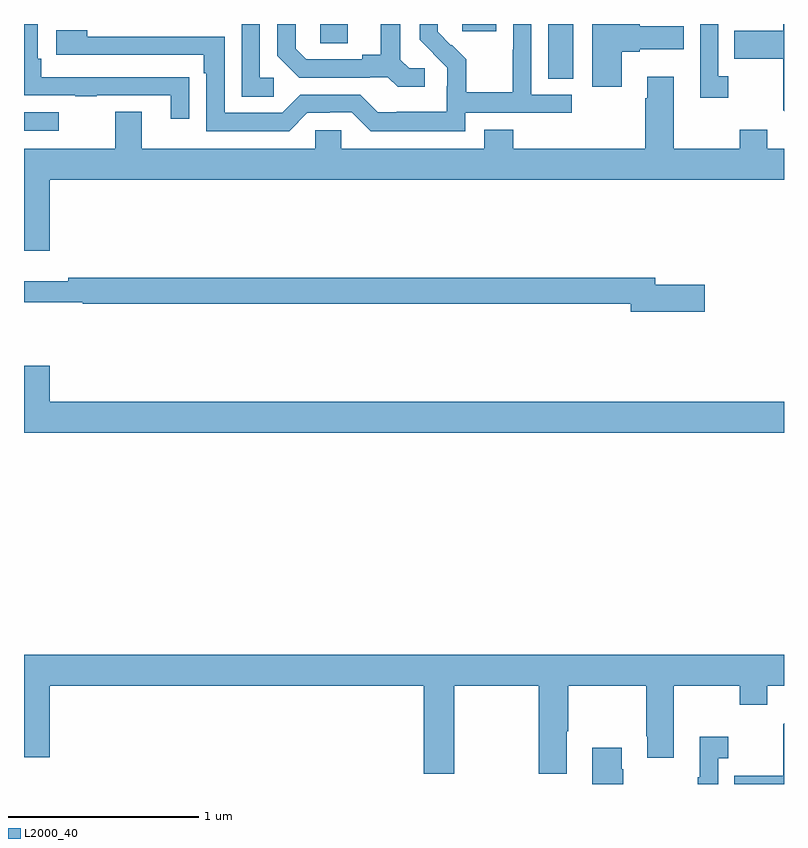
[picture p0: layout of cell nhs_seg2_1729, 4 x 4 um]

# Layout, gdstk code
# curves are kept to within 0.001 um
import gdstk
lib = gdstk.Library(unit=1e-6, precision=1e-09)
def R(c, l, rs):  # rectangles x0, y0, x1, y1
    for r in rs: c.add(gdstk.rectangle(r[:2], r[2:], *l))
def P(c, l, *ps):  # polygons
    for p in ps: c.add(gdstk.Polygon(p, *l))
L2000_40 = (2000, 40)

nhs_seg2_1729 = lib.new_cell('nhs_seg2_1729')
R(nhs_seg2_1729, L2000_40, [(201,637.239,201.184,637.335), (203.759,637.513,203.89,637.8), (202.56,637.699,202.705,637.8), (203.306,637.761,203.485,637.8)])
P(nhs_seg2_1729, L2000_40, [(205,637.8),(204.996,637.8),(204.996,637.765),(204.739,637.765),(204.739,637.618),(204.996,637.618),(204.996,637.345),(205,637.341)],
  [(203.322,637.332),(203.884,637.332),(203.884,637.428),(203.67,637.428),(203.67,637.8),(203.574,637.8),(203.574,637.664),(203.572,637.664),(203.572,637.441),(203.327,637.441),(203.327,637.615),(203.25,637.692),(203.247,637.689),(203.177,637.76),(203.177,637.8),(203.082,637.8),(203.082,637.718),(203.228,637.57),(203.228,637.473),(203.226,637.473),(203.226,637.339),(202.963,637.339),(202.963,637.335),(202.863,637.335),(202.77,637.428),(202.455,637.428),(202.359,637.332),(202.056,637.332),(202.056,637.734),(201.332,637.734),(201.332,637.768),(201.171,637.768),(201.171,637.638),(201.947,637.638),(201.947,637.541),(201.96,637.541),(201.96,637.236),(202.395,637.236),(202.491,637.332),(202.61,637.332),(202.61,637.335),(202.725,637.335),(202.825,637.235),(203.322,637.235)],
  [(203.11,637.566),(203.028,637.566),(202.981,637.613),(202.981,637.8),(202.877,637.8),(202.877,637.637),(202.781,637.637),(202.781,637.614),(202.486,637.614),(202.429,637.671),(202.429,637.8),(202.332,637.8),(202.332,637.634),(202.448,637.518),(202.82,637.518),(202.82,637.521),(202.914,637.521),(202.966,637.469),(203.11,637.469)],
  [(204.145,637.655),(204.241,637.655),(204.241,637.667),(204.472,637.667),(204.472,637.789),(204.241,637.789),(204.241,637.8),(203.99,637.8),(203.99,637.47),(204.145,637.47)],
  [(204.706,637.526),(204.654,637.526),(204.654,637.8),(204.558,637.8),(204.558,637.413),(204.706,637.413)],
  [(202.315,637.518),(202.242,637.518),(202.242,637.8),(202.146,637.8),(202.146,637.417),(202.315,637.417)],
  [(201.869,637.52),(201.767,637.52),(201.767,637.521),(201.092,637.521),(201.092,637.618),(201.072,637.618),(201.072,637.8),(201,637.8),(201,637.425),(201.271,637.425),(201.271,637.42),(201.383,637.42),(201.383,637.425),(201.773,637.425),(201.773,637.302),(201.869,637.302)],
  [(201.136,636.98),(205,636.98),(205,637.144),(204.913,637.144),(204.913,637.243),(204.766,637.243),(204.766,637.144),(204.421,637.144),(204.421,637.522),(204.281,637.522),(204.281,637.409),(204.269,637.409),(204.269,637.144),(203.576,637.144),(203.576,637.243),(203.423,637.243),(203.423,637.144),(202.671,637.144),(202.671,637.242),(202.533,637.242),(202.533,637.144),(201.619,637.144),(201.619,637.339),(201.479,637.339),(201.479,637.144),(201,637.144),(201,636.606),(201.136,636.606)],
  [(204.583,636.428),(204.322,636.428),(204.322,636.464),(201.232,636.464),(201.232,636.445),(201,636.445),(201,636.336),(201.308,636.336),(201.308,636.328),(204.194,636.328),(204.194,636.286),(204.583,636.286)],
  [(205,635.812),(201.136,635.812),(201.136,636.001),(201,636.001),(201,635.648),(205,635.648)],
  [(203.265,634.316),(203.71,634.316),(203.71,633.855),(203.857,633.855),(203.857,634.078),(203.865,634.078),(203.865,634.316),(204.274,634.316),(204.274,634.051),(204.281,634.051),(204.281,633.939),(204.421,633.939),(204.421,634.316),(204.766,634.316),(204.766,634.217),(204.913,634.217),(204.913,634.316),(205,634.316),(205,634.48),(201,634.48),(201,633.942),(201.136,633.942),(201.136,634.316),(203.105,634.316),(203.105,633.855),(203.265,633.855)],
  [(205,634.119),(204.996,634.115),(204.996,633.843),(204.739,633.843),(204.739,633.8),(205,633.8)],
  [(204.654,633.935),(204.706,633.935),(204.706,634.048),(204.557,634.048),(204.557,633.835),(204.546,633.835),(204.546,633.8),(204.654,633.8)],
  [(204.153,633.878),(204.145,633.878),(204.145,633.991),(203.99,633.991),(203.99,633.8),(204.153,633.8)])

lib.write_gds('nhs_seg2_1729.gds')
